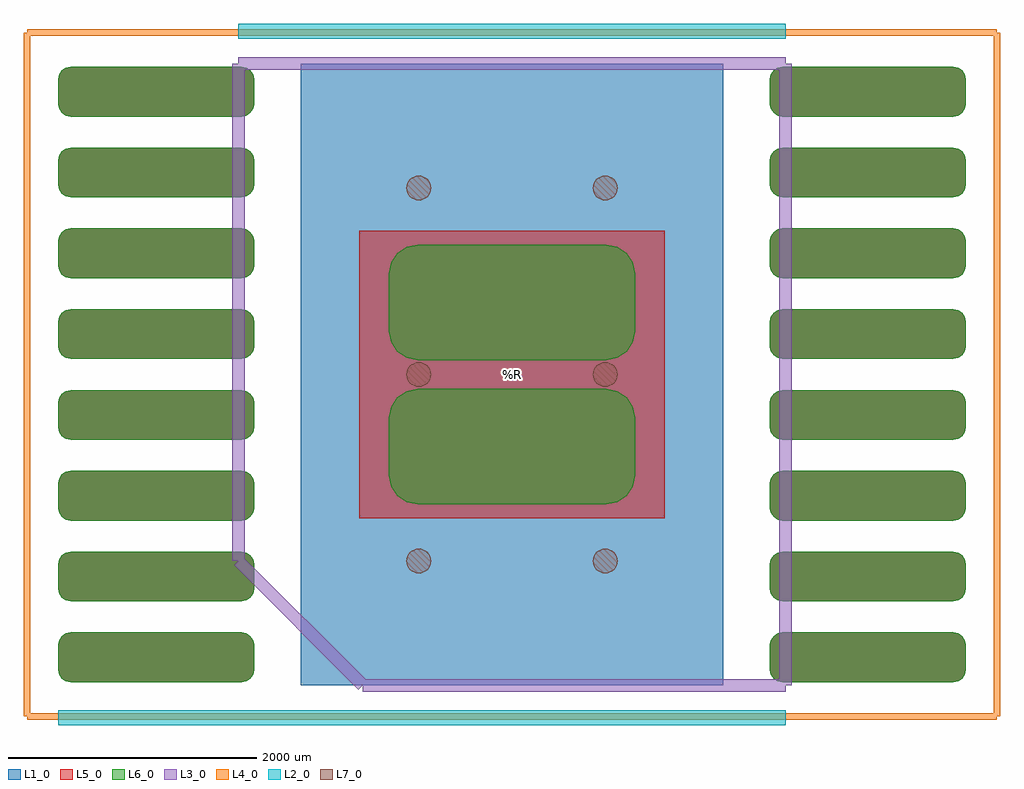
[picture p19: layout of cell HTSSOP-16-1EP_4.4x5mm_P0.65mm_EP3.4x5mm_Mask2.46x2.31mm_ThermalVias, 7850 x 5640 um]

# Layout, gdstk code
import gdstk
lib = gdstk.Library(unit=1e-6, precision=1e-09)
def R(c, l, rs):  # rectangles x0, y0, x1, y1
    for r in rs: c.add(gdstk.rectangle(r[:2], r[2:], *l))
def P(c, l, *ps):  # polygons
    for p in ps: c.add(gdstk.Polygon(p, *l))
L1_0 = (1, 0)
L2_0 = (2, 0)
L3_0 = (3, 0)
L4_0 = (4, 0)
L5_0 = (5, 0)
L6_0 = (6, 0)
L7_0 = (7, 0)

htssop_16_1ep_4_4x5mm_p0 = lib.new_cell('HTSSOP-16-1EP_4.4x5mm_P0.65mm_EP3.4x5mm_Mask2.46x2.31mm_ThermalVias')
R(htssop_16_1ep_4_4x5mm_p0, L1_0, [(-1700,-2500,1700,2500), (-1000,-1750,1000,1750)])
P(htssop_16_1ep_4_4x5mm_p0, L1_0, [(-2175,-2475),(-2137,-2467),(-2104,-2446),(-2083,-2413),(-2075,-2375),(-2075,-2175),(-2083,-2137),(-2104,-2104),(-2137,-2083),(-2175,-2075),(-3550,-2075),(-3588,-2083),(-3621,-2104),(-3642,-2137),(-3650,-2175),(-3650,-2375),(-3642,-2413),(-3621,-2446),(-3588,-2467),(-3550,-2475)],
  [(-2175,-1825),(-2137,-1817),(-2104,-1796),(-2083,-1763),(-2075,-1725),(-2075,-1525),(-2083,-1487),(-2104,-1454),(-2137,-1433),(-2175,-1425),(-3550,-1425),(-3588,-1433),(-3621,-1454),(-3642,-1487),(-3650,-1525),(-3650,-1725),(-3642,-1763),(-3621,-1796),(-3588,-1817),(-3550,-1825)],
  [(-2175,-1175),(-2137,-1167),(-2104,-1146),(-2083,-1113),(-2075,-1075),(-2075,-875),(-2083,-837),(-2104,-804),(-2137,-783),(-2175,-775),(-3550,-775),(-3588,-783),(-3621,-804),(-3642,-837),(-3650,-875),(-3650,-1075),(-3642,-1113),(-3621,-1146),(-3588,-1167),(-3550,-1175)],
  [(-2175,-525),(-2137,-517),(-2104,-496),(-2083,-463),(-2075,-425),(-2075,-225),(-2083,-187),(-2104,-154),(-2137,-133),(-2175,-125),(-3550,-125),(-3588,-133),(-3621,-154),(-3642,-187),(-3650,-225),(-3650,-425),(-3642,-463),(-3621,-496),(-3588,-517),(-3550,-525)],
  [(-2175,125),(-2137,133),(-2104,154),(-2083,187),(-2075,225),(-2075,425),(-2083,463),(-2104,496),(-2137,517),(-2175,525),(-3550,525),(-3588,517),(-3621,496),(-3642,463),(-3650,425),(-3650,225),(-3642,187),(-3621,154),(-3588,133),(-3550,125)],
  [(-2175,775),(-2137,783),(-2104,804),(-2083,837),(-2075,875),(-2075,1075),(-2083,1113),(-2104,1146),(-2137,1167),(-2175,1175),(-3550,1175),(-3588,1167),(-3621,1146),(-3642,1113),(-3650,1075),(-3650,875),(-3642,837),(-3621,804),(-3588,783),(-3550,775)],
  [(-2175,1425),(-2137,1433),(-2104,1454),(-2083,1487),(-2075,1525),(-2075,1725),(-2083,1763),(-2104,1796),(-2137,1817),(-2175,1825),(-3550,1825),(-3588,1817),(-3621,1796),(-3642,1763),(-3650,1725),(-3650,1525),(-3642,1487),(-3621,1454),(-3588,1433),(-3550,1425)],
  [(-2175,2075),(-2137,2083),(-2104,2104),(-2083,2137),(-2075,2175),(-2075,2375),(-2083,2413),(-2104,2446),(-2137,2467),(-2175,2475),(-3550,2475),(-3588,2467),(-3621,2446),(-3642,2413),(-3650,2375),(-3650,2175),(-3642,2137),(-3621,2104),(-3588,2083),(-3550,2075)],
  [(3550,2075),(3588,2083),(3621,2104),(3642,2137),(3650,2175),(3650,2375),(3642,2413),(3621,2446),(3588,2467),(3550,2475),(2175,2475),(2137,2467),(2104,2446),(2083,2413),(2075,2375),(2075,2175),(2083,2137),(2104,2104),(2137,2083),(2175,2075)],
  [(3550,1425),(3588,1433),(3621,1454),(3642,1487),(3650,1525),(3650,1725),(3642,1763),(3621,1796),(3588,1817),(3550,1825),(2175,1825),(2137,1817),(2104,1796),(2083,1763),(2075,1725),(2075,1525),(2083,1487),(2104,1454),(2137,1433),(2175,1425)],
  [(3550,775),(3588,783),(3621,804),(3642,837),(3650,875),(3650,1075),(3642,1113),(3621,1146),(3588,1167),(3550,1175),(2175,1175),(2137,1167),(2104,1146),(2083,1113),(2075,1075),(2075,875),(2083,837),(2104,804),(2137,783),(2175,775)],
  [(3550,125),(3588,133),(3621,154),(3642,187),(3650,225),(3650,425),(3642,463),(3621,496),(3588,517),(3550,525),(2175,525),(2137,517),(2104,496),(2083,463),(2075,425),(2075,225),(2083,187),(2104,154),(2137,133),(2175,125)],
  [(3550,-525),(3588,-517),(3621,-496),(3642,-463),(3650,-425),(3650,-225),(3642,-187),(3621,-154),(3588,-133),(3550,-125),(2175,-125),(2137,-133),(2104,-154),(2083,-187),(2075,-225),(2075,-425),(2083,-463),(2104,-496),(2137,-517),(2175,-525)],
  [(3550,-1175),(3588,-1167),(3621,-1146),(3642,-1113),(3650,-1075),(3650,-875),(3642,-837),(3621,-804),(3588,-783),(3550,-775),(2175,-775),(2137,-783),(2104,-804),(2083,-837),(2075,-875),(2075,-1075),(2083,-1113),(2104,-1146),(2137,-1167),(2175,-1175)],
  [(3550,-1825),(3588,-1817),(3621,-1796),(3642,-1763),(3650,-1725),(3650,-1525),(3642,-1487),(3621,-1454),(3588,-1433),(3550,-1425),(2175,-1425),(2137,-1433),(2104,-1454),(2083,-1487),(2075,-1525),(2075,-1725),(2083,-1763),(2104,-1796),(2137,-1817),(2175,-1825)],
  [(3550,-2475),(3588,-2467),(3621,-2446),(3642,-2413),(3650,-2375),(3650,-2175),(3642,-2137),(3621,-2104),(3588,-2083),(3550,-2075),(2175,-2075),(2137,-2083),(2104,-2104),(2083,-2137),(2075,-2175),(2075,-2375),(2083,-2413),(2104,-2446),(2137,-2467),(2175,-2475)],
  [(-500,-1500),(-519,-1404),(-573,-1323),(-654,-1269),(-750,-1250),(-846,-1269),(-927,-1323),(-981,-1404),(-1000,-1500),(-981,-1596),(-927,-1677),(-846,-1731),(-750,-1750),(-654,-1731),(-573,-1677),(-519,-1596)],
  [(1000,-1500),(981,-1404),(927,-1323),(846,-1269),(750,-1250),(654,-1269),(573,-1323),(519,-1404),(500,-1500),(519,-1596),(573,-1677),(654,-1731),(750,-1750),(846,-1731),(927,-1677),(981,-1596)],
  [(-500,0),(-519,96),(-573,177),(-654,231),(-750,250),(-846,231),(-927,177),(-981,96),(-1000,0),(-981,-96),(-927,-177),(-846,-231),(-750,-250),(-654,-231),(-573,-177),(-519,-96)],
  [(1000,0),(981,96),(927,177),(846,231),(750,250),(654,231),(573,177),(519,96),(500,0),(519,-96),(573,-177),(654,-231),(750,-250),(846,-231),(927,-177),(981,-96)],
  [(-500,1500),(-519,1596),(-573,1677),(-654,1731),(-750,1750),(-846,1731),(-927,1677),(-981,1596),(-1000,1500),(-981,1404),(-927,1323),(-846,1269),(-750,1250),(-654,1269),(-573,1323),(-519,1404)],
  [(1000,1500),(981,1596),(927,1677),(846,1731),(750,1750),(654,1731),(573,1677),(519,1596),(500,1500),(519,1404),(573,1323),(654,1269),(750,1250),(846,1269),(927,1323),(981,1404)])
R(htssop_16_1ep_4_4x5mm_p0, L5_0, [(-1230,-1155,1230,1155)])
P(htssop_16_1ep_4_4x5mm_p0, L5_0, [(-2175,-2475),(-2137,-2467),(-2104,-2446),(-2083,-2413),(-2075,-2375),(-2075,-2175),(-2083,-2137),(-2104,-2104),(-2137,-2083),(-2175,-2075),(-3550,-2075),(-3588,-2083),(-3621,-2104),(-3642,-2137),(-3650,-2175),(-3650,-2375),(-3642,-2413),(-3621,-2446),(-3588,-2467),(-3550,-2475)],
  [(-2175,-1825),(-2137,-1817),(-2104,-1796),(-2083,-1763),(-2075,-1725),(-2075,-1525),(-2083,-1487),(-2104,-1454),(-2137,-1433),(-2175,-1425),(-3550,-1425),(-3588,-1433),(-3621,-1454),(-3642,-1487),(-3650,-1525),(-3650,-1725),(-3642,-1763),(-3621,-1796),(-3588,-1817),(-3550,-1825)],
  [(-2175,-1175),(-2137,-1167),(-2104,-1146),(-2083,-1113),(-2075,-1075),(-2075,-875),(-2083,-837),(-2104,-804),(-2137,-783),(-2175,-775),(-3550,-775),(-3588,-783),(-3621,-804),(-3642,-837),(-3650,-875),(-3650,-1075),(-3642,-1113),(-3621,-1146),(-3588,-1167),(-3550,-1175)],
  [(-2175,-525),(-2137,-517),(-2104,-496),(-2083,-463),(-2075,-425),(-2075,-225),(-2083,-187),(-2104,-154),(-2137,-133),(-2175,-125),(-3550,-125),(-3588,-133),(-3621,-154),(-3642,-187),(-3650,-225),(-3650,-425),(-3642,-463),(-3621,-496),(-3588,-517),(-3550,-525)],
  [(-2175,125),(-2137,133),(-2104,154),(-2083,187),(-2075,225),(-2075,425),(-2083,463),(-2104,496),(-2137,517),(-2175,525),(-3550,525),(-3588,517),(-3621,496),(-3642,463),(-3650,425),(-3650,225),(-3642,187),(-3621,154),(-3588,133),(-3550,125)],
  [(-2175,775),(-2137,783),(-2104,804),(-2083,837),(-2075,875),(-2075,1075),(-2083,1113),(-2104,1146),(-2137,1167),(-2175,1175),(-3550,1175),(-3588,1167),(-3621,1146),(-3642,1113),(-3650,1075),(-3650,875),(-3642,837),(-3621,804),(-3588,783),(-3550,775)],
  [(-2175,1425),(-2137,1433),(-2104,1454),(-2083,1487),(-2075,1525),(-2075,1725),(-2083,1763),(-2104,1796),(-2137,1817),(-2175,1825),(-3550,1825),(-3588,1817),(-3621,1796),(-3642,1763),(-3650,1725),(-3650,1525),(-3642,1487),(-3621,1454),(-3588,1433),(-3550,1425)],
  [(-2175,2075),(-2137,2083),(-2104,2104),(-2083,2137),(-2075,2175),(-2075,2375),(-2083,2413),(-2104,2446),(-2137,2467),(-2175,2475),(-3550,2475),(-3588,2467),(-3621,2446),(-3642,2413),(-3650,2375),(-3650,2175),(-3642,2137),(-3621,2104),(-3588,2083),(-3550,2075)],
  [(3550,2075),(3588,2083),(3621,2104),(3642,2137),(3650,2175),(3650,2375),(3642,2413),(3621,2446),(3588,2467),(3550,2475),(2175,2475),(2137,2467),(2104,2446),(2083,2413),(2075,2375),(2075,2175),(2083,2137),(2104,2104),(2137,2083),(2175,2075)],
  [(3550,1425),(3588,1433),(3621,1454),(3642,1487),(3650,1525),(3650,1725),(3642,1763),(3621,1796),(3588,1817),(3550,1825),(2175,1825),(2137,1817),(2104,1796),(2083,1763),(2075,1725),(2075,1525),(2083,1487),(2104,1454),(2137,1433),(2175,1425)],
  [(3550,775),(3588,783),(3621,804),(3642,837),(3650,875),(3650,1075),(3642,1113),(3621,1146),(3588,1167),(3550,1175),(2175,1175),(2137,1167),(2104,1146),(2083,1113),(2075,1075),(2075,875),(2083,837),(2104,804),(2137,783),(2175,775)],
  [(3550,125),(3588,133),(3621,154),(3642,187),(3650,225),(3650,425),(3642,463),(3621,496),(3588,517),(3550,525),(2175,525),(2137,517),(2104,496),(2083,463),(2075,425),(2075,225),(2083,187),(2104,154),(2137,133),(2175,125)],
  [(3550,-525),(3588,-517),(3621,-496),(3642,-463),(3650,-425),(3650,-225),(3642,-187),(3621,-154),(3588,-133),(3550,-125),(2175,-125),(2137,-133),(2104,-154),(2083,-187),(2075,-225),(2075,-425),(2083,-463),(2104,-496),(2137,-517),(2175,-525)],
  [(3550,-1175),(3588,-1167),(3621,-1146),(3642,-1113),(3650,-1075),(3650,-875),(3642,-837),(3621,-804),(3588,-783),(3550,-775),(2175,-775),(2137,-783),(2104,-804),(2083,-837),(2075,-875),(2075,-1075),(2083,-1113),(2104,-1146),(2137,-1167),(2175,-1175)],
  [(3550,-1825),(3588,-1817),(3621,-1796),(3642,-1763),(3650,-1725),(3650,-1525),(3642,-1487),(3621,-1454),(3588,-1433),(3550,-1425),(2175,-1425),(2137,-1433),(2104,-1454),(2083,-1487),(2075,-1525),(2075,-1725),(2083,-1763),(2104,-1796),(2137,-1817),(2175,-1825)],
  [(3550,-2475),(3588,-2467),(3621,-2446),(3642,-2413),(3650,-2375),(3650,-2175),(3642,-2137),(3621,-2104),(3588,-2083),(3550,-2075),(2175,-2075),(2137,-2083),(2104,-2104),(2083,-2137),(2075,-2175),(2075,-2375),(2083,-2413),(2104,-2446),(2137,-2467),(2175,-2475)])
P(htssop_16_1ep_4_4x5mm_p0, L6_0, [(-2175,-2475),(-2137,-2467),(-2104,-2446),(-2083,-2413),(-2075,-2375),(-2075,-2175),(-2083,-2137),(-2104,-2104),(-2137,-2083),(-2175,-2075),(-3550,-2075),(-3588,-2083),(-3621,-2104),(-3642,-2137),(-3650,-2175),(-3650,-2375),(-3642,-2413),(-3621,-2446),(-3588,-2467),(-3550,-2475)],
  [(-2175,-1825),(-2137,-1817),(-2104,-1796),(-2083,-1763),(-2075,-1725),(-2075,-1525),(-2083,-1487),(-2104,-1454),(-2137,-1433),(-2175,-1425),(-3550,-1425),(-3588,-1433),(-3621,-1454),(-3642,-1487),(-3650,-1525),(-3650,-1725),(-3642,-1763),(-3621,-1796),(-3588,-1817),(-3550,-1825)],
  [(-2175,-1175),(-2137,-1167),(-2104,-1146),(-2083,-1113),(-2075,-1075),(-2075,-875),(-2083,-837),(-2104,-804),(-2137,-783),(-2175,-775),(-3550,-775),(-3588,-783),(-3621,-804),(-3642,-837),(-3650,-875),(-3650,-1075),(-3642,-1113),(-3621,-1146),(-3588,-1167),(-3550,-1175)],
  [(-2175,-525),(-2137,-517),(-2104,-496),(-2083,-463),(-2075,-425),(-2075,-225),(-2083,-187),(-2104,-154),(-2137,-133),(-2175,-125),(-3550,-125),(-3588,-133),(-3621,-154),(-3642,-187),(-3650,-225),(-3650,-425),(-3642,-463),(-3621,-496),(-3588,-517),(-3550,-525)],
  [(-2175,125),(-2137,133),(-2104,154),(-2083,187),(-2075,225),(-2075,425),(-2083,463),(-2104,496),(-2137,517),(-2175,525),(-3550,525),(-3588,517),(-3621,496),(-3642,463),(-3650,425),(-3650,225),(-3642,187),(-3621,154),(-3588,133),(-3550,125)],
  [(-2175,775),(-2137,783),(-2104,804),(-2083,837),(-2075,875),(-2075,1075),(-2083,1113),(-2104,1146),(-2137,1167),(-2175,1175),(-3550,1175),(-3588,1167),(-3621,1146),(-3642,1113),(-3650,1075),(-3650,875),(-3642,837),(-3621,804),(-3588,783),(-3550,775)],
  [(-2175,1425),(-2137,1433),(-2104,1454),(-2083,1487),(-2075,1525),(-2075,1725),(-2083,1763),(-2104,1796),(-2137,1817),(-2175,1825),(-3550,1825),(-3588,1817),(-3621,1796),(-3642,1763),(-3650,1725),(-3650,1525),(-3642,1487),(-3621,1454),(-3588,1433),(-3550,1425)],
  [(-2175,2075),(-2137,2083),(-2104,2104),(-2083,2137),(-2075,2175),(-2075,2375),(-2083,2413),(-2104,2446),(-2137,2467),(-2175,2475),(-3550,2475),(-3588,2467),(-3621,2446),(-3642,2413),(-3650,2375),(-3650,2175),(-3642,2137),(-3621,2104),(-3588,2083),(-3550,2075)],
  [(3550,2075),(3588,2083),(3621,2104),(3642,2137),(3650,2175),(3650,2375),(3642,2413),(3621,2446),(3588,2467),(3550,2475),(2175,2475),(2137,2467),(2104,2446),(2083,2413),(2075,2375),(2075,2175),(2083,2137),(2104,2104),(2137,2083),(2175,2075)],
  [(3550,1425),(3588,1433),(3621,1454),(3642,1487),(3650,1525),(3650,1725),(3642,1763),(3621,1796),(3588,1817),(3550,1825),(2175,1825),(2137,1817),(2104,1796),(2083,1763),(2075,1725),(2075,1525),(2083,1487),(2104,1454),(2137,1433),(2175,1425)],
  [(3550,775),(3588,783),(3621,804),(3642,837),(3650,875),(3650,1075),(3642,1113),(3621,1146),(3588,1167),(3550,1175),(2175,1175),(2137,1167),(2104,1146),(2083,1113),(2075,1075),(2075,875),(2083,837),(2104,804),(2137,783),(2175,775)],
  [(3550,125),(3588,133),(3621,154),(3642,187),(3650,225),(3650,425),(3642,463),(3621,496),(3588,517),(3550,525),(2175,525),(2137,517),(2104,496),(2083,463),(2075,425),(2075,225),(2083,187),(2104,154),(2137,133),(2175,125)],
  [(3550,-525),(3588,-517),(3621,-496),(3642,-463),(3650,-425),(3650,-225),(3642,-187),(3621,-154),(3588,-133),(3550,-125),(2175,-125),(2137,-133),(2104,-154),(2083,-187),(2075,-225),(2075,-425),(2083,-463),(2104,-496),(2137,-517),(2175,-525)],
  [(3550,-1175),(3588,-1167),(3621,-1146),(3642,-1113),(3650,-1075),(3650,-875),(3642,-837),(3621,-804),(3588,-783),(3550,-775),(2175,-775),(2137,-783),(2104,-804),(2083,-837),(2075,-875),(2075,-1075),(2083,-1113),(2104,-1146),(2137,-1167),(2175,-1175)],
  [(3550,-1825),(3588,-1817),(3621,-1796),(3642,-1763),(3650,-1725),(3650,-1525),(3642,-1487),(3621,-1454),(3588,-1433),(3550,-1425),(2175,-1425),(2137,-1433),(2104,-1454),(2083,-1487),(2075,-1525),(2075,-1725),(2083,-1763),(2104,-1796),(2137,-1817),(2175,-1825)],
  [(3550,-2475),(3588,-2467),(3621,-2446),(3642,-2413),(3650,-2375),(3650,-2175),(3642,-2137),(3621,-2104),(3588,-2083),(3550,-2075),(2175,-2075),(2137,-2083),(2104,-2104),(2083,-2137),(2075,-2175),(2075,-2375),(2083,-2413),(2104,-2446),(2137,-2467),(2175,-2475)],
  [(757,-1045),(846,-1027),(922,-977),(972,-901),(990,-812),(990,-347),(972,-259),(922,-183),(846,-133),(757,-115),(-757,-115),(-846,-133),(-922,-183),(-972,-259),(-990,-347),(-990,-812),(-972,-901),(-922,-977),(-846,-1027),(-757,-1045)],
  [(757,115),(846,133),(922,183),(972,259),(990,347),(990,812),(972,901),(922,977),(846,1027),(757,1045),(-757,1045),(-846,1027),(-922,977),(-972,901),(-990,812),(-990,347),(-972,259),(-922,183),(-846,133),(-757,115)])
P(htssop_16_1ep_4_4x5mm_p0, L7_0, [(-650,-1500),(-652,-1480),(-658,-1462),(-667,-1444),(-679,-1429),(-694,-1417),(-712,-1408),(-730,-1402),(-750,-1400),(-770,-1402),(-788,-1408),(-806,-1417),(-821,-1429),(-833,-1444),(-842,-1462),(-848,-1480),(-850,-1500),(-848,-1520),(-842,-1538),(-833,-1556),(-821,-1571),(-806,-1583),(-788,-1592),(-770,-1598),(-750,-1600),(-730,-1598),(-712,-1592),(-694,-1583),(-679,-1571),(-667,-1556),(-658,-1538),(-652,-1520)],
  [(850,-1500),(848,-1480),(842,-1462),(833,-1444),(821,-1429),(806,-1417),(788,-1408),(770,-1402),(750,-1400),(730,-1402),(712,-1408),(694,-1417),(679,-1429),(667,-1444),(658,-1462),(652,-1480),(650,-1500),(652,-1520),(658,-1538),(667,-1556),(679,-1571),(694,-1583),(712,-1592),(730,-1598),(750,-1600),(770,-1598),(788,-1592),(806,-1583),(821,-1571),(833,-1556),(842,-1538),(848,-1520)],
  [(-650,0),(-652,20),(-658,38),(-667,56),(-679,71),(-694,83),(-712,92),(-730,98),(-750,100),(-770,98),(-788,92),(-806,83),(-821,71),(-833,56),(-842,38),(-848,20),(-850,0),(-848,-20),(-842,-38),(-833,-56),(-821,-71),(-806,-83),(-788,-92),(-770,-98),(-750,-100),(-730,-98),(-712,-92),(-694,-83),(-679,-71),(-667,-56),(-658,-38),(-652,-20)],
  [(850,0),(848,20),(842,38),(833,56),(821,71),(806,83),(788,92),(770,98),(750,100),(730,98),(712,92),(694,83),(679,71),(667,56),(658,38),(652,20),(650,0),(652,-20),(658,-38),(667,-56),(679,-71),(694,-83),(712,-92),(730,-98),(750,-100),(770,-98),(788,-92),(806,-83),(821,-71),(833,-56),(842,-38),(848,-20)],
  [(-650,1500),(-652,1520),(-658,1538),(-667,1556),(-679,1571),(-694,1583),(-712,1592),(-730,1598),(-750,1600),(-770,1598),(-788,1592),(-806,1583),(-821,1571),(-833,1556),(-842,1538),(-848,1520),(-850,1500),(-848,1480),(-842,1462),(-833,1444),(-821,1429),(-806,1417),(-788,1408),(-770,1402),(-750,1400),(-730,1402),(-712,1408),(-694,1417),(-679,1429),(-667,1444),(-658,1462),(-652,1480)],
  [(850,1500),(848,1520),(842,1538),(833,1556),(821,1571),(806,1583),(788,1592),(770,1598),(750,1600),(730,1598),(712,1592),(694,1583),(679,1571),(667,1556),(658,1538),(652,1520),(650,1500),(652,1480),(658,1462),(667,1444),(679,1429),(694,1417),(712,1408),(730,1402),(750,1400),(770,1402),(788,1408),(806,1417),(821,1429),(833,1444),(842,1462),(848,1480)])
htssop_16_1ep_4_4x5mm_p0.add(gdstk.FlexPath([(0,2760),(2200,2760)], 120, ends="flush", simple_path=True, layer=2, datatype=0))  # L2_0
htssop_16_1ep_4_4x5mm_p0.add(gdstk.FlexPath([(0,2760),(-2200,2760)], 120, ends="flush", simple_path=True, layer=2, datatype=0))  # L2_0
htssop_16_1ep_4_4x5mm_p0.add(gdstk.FlexPath([(0,-2760),(2200,-2760)], 120, ends="flush", simple_path=True, layer=2, datatype=0))  # L2_0
htssop_16_1ep_4_4x5mm_p0.add(gdstk.FlexPath([(0,-2760),(-3650,-2760)], 120, ends="flush", simple_path=True, layer=2, datatype=0))  # L2_0
htssop_16_1ep_4_4x5mm_p0.add(gdstk.FlexPath([(-1200,-2500),(2200,-2500)], 100, ends="flush", simple_path=True, layer=3, datatype=0))  # L3_0
htssop_16_1ep_4_4x5mm_p0.add(gdstk.FlexPath([(2200,-2500),(2200,2500)], 100, ends="flush", simple_path=True, layer=3, datatype=0))  # L3_0
htssop_16_1ep_4_4x5mm_p0.add(gdstk.FlexPath([(2200,2500),(-2200,2500)], 100, ends="flush", simple_path=True, layer=3, datatype=0))  # L3_0
htssop_16_1ep_4_4x5mm_p0.add(gdstk.FlexPath([(-2200,2500),(-2200,-1500)], 100, ends="flush", simple_path=True, layer=3, datatype=0))  # L3_0
htssop_16_1ep_4_4x5mm_p0.add(gdstk.FlexPath([(-2200,-1500),(-1200,-2500)], 100, ends="flush", simple_path=True, layer=3, datatype=0))  # L3_0
htssop_16_1ep_4_4x5mm_p0.add(gdstk.FlexPath([(-3900,-2750),(-3900,2750)], 50, ends="flush", simple_path=True, layer=4, datatype=0))  # L4_0
htssop_16_1ep_4_4x5mm_p0.add(gdstk.FlexPath([(-3900,2750),(3900,2750)], 50, ends="flush", simple_path=True, layer=4, datatype=0))  # L4_0
htssop_16_1ep_4_4x5mm_p0.add(gdstk.FlexPath([(3900,2750),(3900,-2750)], 50, ends="flush", simple_path=True, layer=4, datatype=0))  # L4_0
htssop_16_1ep_4_4x5mm_p0.add(gdstk.FlexPath([(3900,-2750),(-3900,-2750)], 50, ends="flush", simple_path=True, layer=4, datatype=0))  # L4_0
htssop_16_1ep_4_4x5mm_p0.add(gdstk.Label('REF**', (0,-3450), layer=2, texttype=0))
htssop_16_1ep_4_4x5mm_p0.add(gdstk.Label('HTSSOP-16-1EP_4.4x5mm_P0.65mm_EP3.4x5mm_Mask2.46x2.31mm_ThermalVias', (0,3450), layer=3, texttype=0))
htssop_16_1ep_4_4x5mm_p0.add(gdstk.Label('%R', (0,0), layer=3, texttype=0))

lib.write_gds('HTSSOP-16-1EP_4.4x5mm_P0.65mm_EP3.4x5mm_Mask2.46x2.31mm_ThermalVias.gds')
